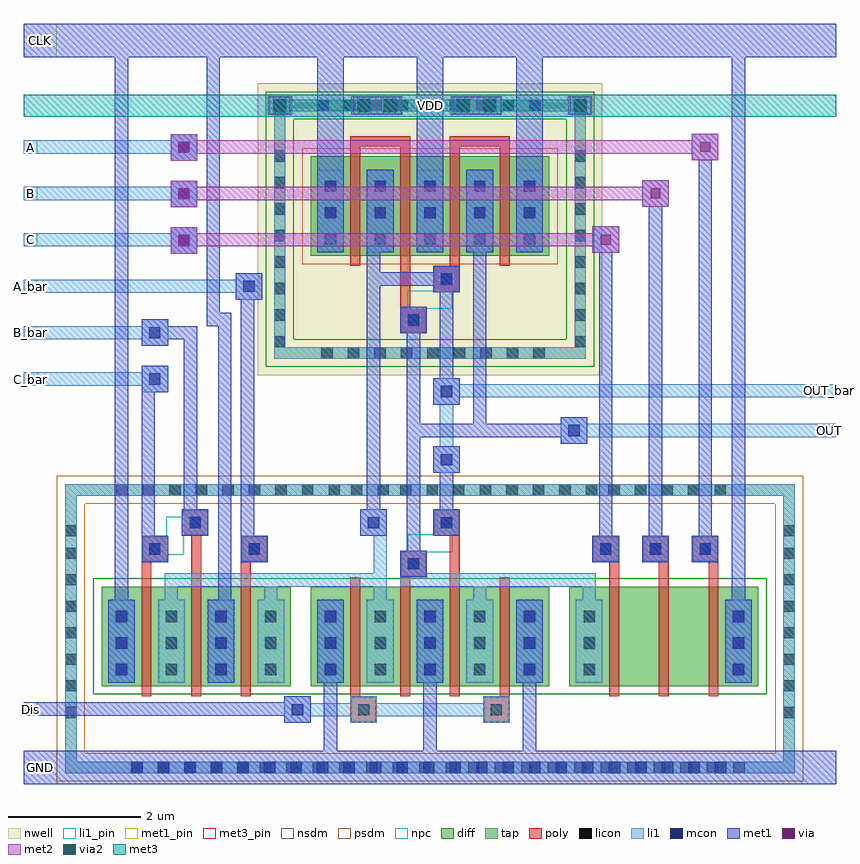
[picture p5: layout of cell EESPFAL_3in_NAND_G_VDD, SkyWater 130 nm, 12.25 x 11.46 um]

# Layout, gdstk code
import gdstk
lib = gdstk.Library(unit=1e-6, precision=1e-09)
def R(c, l, rs):  # rectangles x0, y0, x1, y1
    for r in rs: c.add(gdstk.rectangle(r[:2], r[2:], *l))
def A(c, l, x, y, w, h, nx, ny, dx, dy):  # array of equal rectangles
    R(c, l, [(x+i*dx, y+j*dy, x+i*dx+w, y+j*dy+h) for i in range(nx) for j in range(ny)])
nwell = (64, 20)
diff = (65, 20)
tap = (65, 44)
poly = (66, 20)
licon = (66, 44)
li1_pin = (67, 16)
li1 = (67, 20)
mcon = (67, 44)
met1_pin = (68, 16)
met1 = (68, 20)
via = (68, 44)
met2 = (69, 20)
via2 = (69, 44)
met3_pin = (70, 16)
met3 = (70, 20)
nsdm = (93, 44)
psdm = (94, 20)
npc = (95, 20)

eespfal_3in_nand_g_vdd = lib.new_cell('EESPFAL_3in_NAND_G_VDD')
R(eespfal_3in_nand_g_vdd, nwell, [(-26.775,7.46,-21.58,11.86)])
R(eespfal_3in_nand_g_vdd, diff, [(-29.13,2.77,-26.28,4.27), (-25.98,2.77,-22.38,4.27), (-22.08,2.77,-19.23,4.27), (-25.98,9.26,-22.38,10.76)])
R(eespfal_3in_nand_g_vdd, tap, [(-29.68,1.46,-18.68,1.63), (-29.68,1.63,-29.51,5.645), (-18.85,1.63,-18.68,5.645), (-29.68,5.645,-18.68,5.815), (-26.53,7.71,-21.83,7.88), (-26.53,7.88,-26.36,11.44), (-22,7.88,-21.83,11.44), (-26.53,11.44,-21.83,11.61)])
A(eespfal_3in_nand_g_vdd, poly, -21.48, 2.62, 0.15, 2.02, 3, 1, 0.75, 0)
A(eespfal_3in_nand_g_vdd, poly, -21.73, 4.64, 0.4, 0.4, 3, 1, 0.75, 0)
R(eespfal_3in_nand_g_vdd, poly, [(-25.38,2.215,-24.98,2.615), (-23.38,2.215,-22.98,2.615), (-25.38,2.615,-25.23,4.415), (-24.63,2.615,-24.48,4.415), (-23.88,2.615,-23.73,5.035), (-23.13,2.615,-22.98,4.415), (-28.53,2.62,-28.38,4.64), (-27.78,2.62,-27.63,5.04), (-27.03,2.62,-26.88,4.64), (-24.63,4.415,-24.23,4.815), (-28.53,4.64,-28.13,5.04), (-27.03,4.64,-26.63,5.04), (-24.13,5.035,-23.73,5.435), (-27.92,5.04,-27.52,5.44), (-24.63,8.09,-24.23,8.49), (-24.63,8.49,-24.48,10.91), (-24.13,8.71,-23.73,9.11), (-25.38,9.11,-25.23,10.91), (-23.88,9.11,-23.73,10.91), (-23.13,9.11,-22.98,10.91), (-25.38,10.91,-24.48,11.06), (-23.88,10.91,-22.98,11.06)])
A(eespfal_3in_nand_g_vdd, licon, -28.685, 1.46, 0.17, 0.17, 5, 1, 0.4, 0)
A(eespfal_3in_nand_g_vdd, licon, -26.745, 1.46, 0.17, 0.17, 8, 1, 0.4, 0)
A(eespfal_3in_nand_g_vdd, licon, -23.605, 1.46, 0.17, 0.17, 11, 1, 0.4, 0)
A(eespfal_3in_nand_g_vdd, licon, -29.68, 2.29, 0.17, 0.17, 1, 7, 0, 0.4)
A(eespfal_3in_nand_g_vdd, licon, -18.85, 2.29, 0.17, 0.17, 1, 7, 0, 0.4)
A(eespfal_3in_nand_g_vdd, licon, -28.915, 2.935, 0.17, 0.17, 4, 3, 0.75, 0.4)
A(eespfal_3in_nand_g_vdd, licon, -25.765, 2.935, 0.17, 0.17, 5, 3, 0.75, 0.4)
A(eespfal_3in_nand_g_vdd, licon, -21.865, 2.935, 0.17, 0.17, 1, 3, 0, 0.4)
A(eespfal_3in_nand_g_vdd, licon, -19.615, 2.935, 0.17, 0.17, 1, 3, 0, 0.4)
A(eespfal_3in_nand_g_vdd, licon, -21.615, 4.755, 0.17, 0.17, 3, 1, 0.75, 0)
A(eespfal_3in_nand_g_vdd, licon, -28.91, 5.645, 0.17, 0.17, 9, 1, 0.4, 0)
A(eespfal_3in_nand_g_vdd, licon, -24.63, 5.645, 0.17, 0.17, 8, 1, 0.4, 0)
A(eespfal_3in_nand_g_vdd, licon, -21.49, 5.645, 0.17, 0.17, 5, 1, 0.4, 0)
A(eespfal_3in_nand_g_vdd, licon, -25.82, 7.71, 0.17, 0.17, 9, 1, 0.4, 0)
A(eespfal_3in_nand_g_vdd, licon, -26.53, 7.88, 0.17, 0.17, 1, 8, 0, 0.4)
A(eespfal_3in_nand_g_vdd, licon, -22, 7.88, 0.17, 0.17, 1, 8, 0, 0.4)
A(eespfal_3in_nand_g_vdd, licon, -25.765, 9.425, 0.17, 0.17, 5, 3, 0.75, 0.4)
A(eespfal_3in_nand_g_vdd, licon, -25.88, 11.44, 0.17, 0.17, 9, 1, 0.4, 0)
R(eespfal_3in_nand_g_vdd, licon, [(-25.265,2.33,-25.095,2.5), (-23.265,2.33,-23.095,2.5), (-24.515,4.53,-24.345,4.7), (-28.415,4.755,-28.245,4.925), (-26.915,4.755,-26.745,4.925), (-29.68,5.03,-29.51,5.2), (-18.85,5.03,-18.68,5.2), (-24.015,5.15,-23.845,5.32), (-27.805,5.155,-27.635,5.325), (-25.37,5.645,-25.2,5.815), (-24.97,5.645,-24.8,5.815), (-24.515,8.205,-24.345,8.375), (-24.015,8.825,-23.845,8.995)])
A(eespfal_3in_nand_g_vdd, li1_pin, -30.305, 7.3, 0.2, 0.2, 1, 6, 0, 0.7)
R(eespfal_3in_nand_g_vdd, li1_pin, [(-18.255,6.525,-18.055,6.725), (-18.255,7.125,-18.055,7.325)])
A(eespfal_3in_nand_g_vdd, li1, -29.03, 2.82, 0.4, 1.25, 4, 1, 0.75, 0)
A(eespfal_3in_nand_g_vdd, li1, -25.88, 2.82, 0.4, 1.25, 5, 2, 0.75, 6.49)
A(eespfal_3in_nand_g_vdd, li1, -21.73, 4.64, 0.4, 0.4, 3, 1, 0.75, 0)
A(eespfal_3in_nand_g_vdd, li1, -30.305, 9.4, 2.615, 0.2, 1, 3, 0, 0.7)
R(eespfal_3in_nand_g_vdd, li1, [(-29.68,1.46,-18.68,1.63), (-29.68,1.63,-29.51,5.645), (-18.85,1.63,-18.68,5.645), (-26.38,2.215,-25.98,2.315), (-25.38,2.215,-24.98,2.315), (-23.38,2.215,-22.98,2.315), (-26.38,2.315,-22.98,2.515), (-26.38,2.515,-25.98,2.615), (-25.38,2.515,-24.98,2.615), (-23.38,2.515,-22.98,2.615), (-21.98,2.82,-21.58,4.07), (-19.73,2.82,-19.33,4.07), (-28.18,4.07,-27.98,4.27), (-26.68,4.07,-26.48,4.27), (-25.03,4.07,-24.83,4.27), (-23.53,4.07,-23.33,4.27), (-21.88,4.07,-21.68,4.27), (-28.18,4.27,-24.83,4.47), (-24.63,4.27,-21.68,4.47), (-25.03,4.47,-24.83,5.035), (-24.63,4.47,-24.23,4.815), (-28.53,4.64,-28.13,5.04), (-27.03,4.64,-26.63,5.04), (-25.23,5.035,-24.83,5.435), (-24.13,5.035,-23.73,5.435), (-27.92,5.04,-27.52,5.44), (-29.68,5.645,-18.68,5.815), (-24.13,5.985,-23.73,6.385), (-24.03,6.385,-23.83,7.015), (-22.21,6.425,-21.81,6.525), (-22.21,6.525,-18.055,6.725), (-22.21,6.725,-21.81,6.825), (-24.13,7.015,-23.73,7.125), (-24.13,7.125,-18.055,7.325), (-28.53,7.2,-28.13,7.3), (-30.305,7.3,-28.13,7.5), (-24.13,7.325,-23.73,7.415), (-28.53,7.5,-28.13,7.6), (-26.53,7.71,-21.83,7.88), (-26.53,7.88,-26.36,11.44), (-22,7.88,-21.83,11.44), (-28.53,7.9,-28.13,8), (-30.305,8,-28.13,8.2), (-24.63,8.09,-24.23,8.49), (-28.53,8.2,-28.13,8.3), (-27.11,8.6,-26.71,8.7), (-30.305,8.7,-26.71,8.9), (-24.13,8.71,-23.73,9.11), (-27.11,8.9,-26.71,9), (-28.09,9.29,-27.69,9.4), (-28.09,9.6,-27.69,9.69), (-28.09,9.995,-27.69,10.1), (-28.09,10.3,-27.69,10.395), (-28.09,10.695,-27.69,10.8), (-28.09,11,-27.69,11.095), (-26.53,11.44,-21.83,11.61)])
A(eespfal_3in_nand_g_vdd, mcon, -28.685, 1.46, 0.17, 0.17, 23, 1, 0.4, 0)
A(eespfal_3in_nand_g_vdd, mcon, -28.915, 2.935, 0.17, 0.17, 1, 3, 0, 0.4)
A(eespfal_3in_nand_g_vdd, mcon, -27.415, 2.935, 0.17, 0.17, 1, 3, 0, 0.4)
A(eespfal_3in_nand_g_vdd, mcon, -25.765, 2.935, 0.17, 0.17, 3, 3, 1.5, 0.4)
A(eespfal_3in_nand_g_vdd, mcon, -19.615, 2.935, 0.17, 0.17, 1, 3, 0, 0.4)
A(eespfal_3in_nand_g_vdd, mcon, -21.615, 4.755, 0.17, 0.17, 3, 1, 0.75, 0)
A(eespfal_3in_nand_g_vdd, mcon, -25.765, 9.425, 0.17, 0.17, 5, 3, 0.75, 0.4)
R(eespfal_3in_nand_g_vdd, mcon, [(-26.265,2.33,-26.095,2.5), (-24.515,4.53,-24.345,4.7), (-28.415,4.755,-28.245,4.925), (-26.915,4.755,-26.745,4.925), (-25.115,5.15,-24.945,5.32), (-24.015,5.15,-23.845,5.32), (-27.805,5.155,-27.635,5.325), (-24.015,6.1,-23.845,6.27), (-22.095,6.54,-21.925,6.71), (-24.015,7.13,-23.845,7.3), (-28.415,7.315,-28.245,7.485), (-28.415,8.015,-28.245,8.185), (-24.515,8.205,-24.345,8.375), (-26.995,8.715,-26.825,8.885), (-24.015,8.825,-23.845,8.995), (-27.975,9.405,-27.805,9.575), (-27.975,10.11,-27.805,10.28), (-27.975,10.81,-27.805,10.98), (-26.53,11.44,-26.36,11.61), (-25.265,11.44,-25.095,11.61), (-24.865,11.44,-24.695,11.61), (-23.765,11.44,-23.595,11.61), (-23.365,11.44,-23.195,11.61), (-22,11.44,-21.83,11.61)])
R(eespfal_3in_nand_g_vdd, met1_pin, [(-30.305,1.295,-29.805,1.795), (-30.305,2.325,-30.105,2.525), (-30.305,12.255,-29.805,12.755)])
A(eespfal_3in_nand_g_vdd, met1, -25.78, 1.795, 0.2, 1.025, 3, 1, 1.5, 0)
A(eespfal_3in_nand_g_vdd, met1, -25.88, 2.82, 0.4, 1.25, 3, 1, 1.5, 0)
A(eespfal_3in_nand_g_vdd, met1, -21.73, 4.64, 0.4, 0.4, 3, 1, 0.75, 0)
A(eespfal_3in_nand_g_vdd, met1, -25.88, 9.31, 0.4, 2.945, 3, 1, 1.5, 0)
R(eespfal_3in_nand_g_vdd, met1, [(-30.305,1.295,-18.055,1.795), (-26.38,2.215,-25.98,2.325), (-30.305,2.325,-25.98,2.525), (-26.38,2.525,-25.98,2.615), (-29.03,2.82,-28.63,4.07), (-27.53,2.82,-27.13,4.07), (-19.73,2.82,-19.33,4.07), (-28.93,4.07,-28.73,12.255), (-27.375,4.07,-27.175,8.2), (-19.63,4.07,-19.43,12.255), (-24.63,4.415,-24.23,4.815), (-28.53,4.64,-28.13,5.04), (-27.03,4.64,-26.63,5.04), (-24.53,4.815,-24.33,6.525), (-25.23,5.035,-24.83,5.435), (-24.13,5.035,-23.73,5.435), (-28.53,5.04,-28.33,7.2), (-27.92,5.04,-27.52,5.44), (-27.03,5.04,-26.83,8.6), (-21.63,5.04,-21.43,9.305), (-20.88,5.04,-20.68,10), (-20.13,5.04,-19.93,10.7), (-25.13,5.435,-24.93,8.81), (-24.03,5.435,-23.83,5.985), (-27.89,5.44,-27.69,8), (-24.13,5.985,-23.73,6.385), (-22.21,6.425,-21.81,6.525), (-24.53,6.525,-21.81,6.725), (-24.53,6.725,-24.33,8.09), (-23.53,6.725,-23.33,9.31), (-22.21,6.725,-21.81,6.825), (-24.13,7.015,-23.73,7.415), (-28.53,7.2,-28.13,7.6), (-24.03,7.415,-23.83,8.71), (-28.53,7.9,-28.13,8), (-28.53,8,-27.69,8.2), (-24.63,8.09,-24.23,8.49), (-28.53,8.2,-28.13,8.3), (-27.55,8.2,-27.175,8.4), (-27.55,8.4,-27.35,12.255), (-27.11,8.6,-26.71,9), (-24.13,8.71,-23.73,8.81), (-25.13,8.81,-23.73,9.01), (-25.13,9.01,-24.93,9.31), (-24.13,9.01,-23.73,9.11), (-28.09,9.29,-27.69,9.69), (-21.73,9.305,-21.33,9.705), (-25.13,9.31,-24.73,10.56), (-23.63,9.31,-23.23,10.56), (-28.09,9.995,-27.69,10.395), (-20.98,10,-20.58,10.4), (-28.09,10.695,-27.69,11.095), (-20.23,10.7,-19.83,11.1), (-26.605,11.395,-26.285,11.655), (-25.34,11.395,-24.605,11.655), (-23.84,11.395,-23.105,11.655), (-22.075,11.395,-21.755,11.655), (-30.305,12.255,-18.055,12.755)])
R(eespfal_3in_nand_g_vdd, via, [(-27.965,9.415,-27.815,9.565), (-21.605,9.43,-21.455,9.58), (-27.965,10.12,-27.815,10.27), (-20.855,10.125,-20.705,10.275), (-27.965,10.82,-27.815,10.97), (-20.105,10.825,-19.955,10.975), (-26.52,11.45,-26.37,11.6), (-25.255,11.45,-25.105,11.6), (-24.855,11.45,-24.705,11.6), (-23.755,11.45,-23.605,11.6), (-23.355,11.45,-23.205,11.6), (-21.99,11.45,-21.84,11.6)])
R(eespfal_3in_nand_g_vdd, met2, [(-28.09,9.29,-27.69,9.4), (-21.73,9.305,-21.33,9.4), (-28.09,9.4,-21.33,9.6), (-28.09,9.6,-27.69,9.69), (-21.73,9.6,-21.33,9.705), (-28.09,9.995,-27.69,10.1), (-20.98,10,-20.58,10.1), (-28.09,10.1,-20.58,10.3), (-28.09,10.3,-27.69,10.395), (-20.98,10.3,-20.58,10.4), (-28.09,10.695,-27.69,10.8), (-20.23,10.7,-19.83,10.8), (-28.09,10.8,-19.83,11), (-28.09,11,-27.69,11.095), (-20.23,11,-19.83,11.1), (-26.63,11.385,-26.26,11.665), (-25.365,11.385,-24.595,11.665), (-23.865,11.385,-23.095,11.665), (-22.1,11.385,-21.73,11.665)])
R(eespfal_3in_nand_g_vdd, via2, [(-26.545,11.425,-26.345,11.625), (-25.28,11.425,-25.08,11.625), (-24.88,11.425,-24.68,11.625), (-23.78,11.425,-23.58,11.625), (-23.38,11.425,-23.18,11.625), (-22.015,11.425,-21.815,11.625)])
R(eespfal_3in_nand_g_vdd, met3_pin, [(-30.305,11.36,-18.055,11.69)])
R(eespfal_3in_nand_g_vdd, met3, [(-30.305,11.36,-18.055,11.69)])
R(eespfal_3in_nand_g_vdd, nsdm, [(-29.255,2.645,-19.105,4.395), (-26.655,7.585,-21.705,8.005), (-26.655,8.005,-26.235,11.315), (-22.125,8.005,-21.705,11.315), (-26.655,11.315,-21.705,11.735)])
R(eespfal_3in_nand_g_vdd, psdm, [(-29.805,1.335,-18.555,1.755), (-29.805,1.755,-29.385,5.52), (-18.975,1.755,-18.555,5.52), (-29.805,5.52,-18.555,5.94), (-26.105,9.135,-22.255,10.885)])
A(eespfal_3in_nand_g_vdd, npc, -21.715, 4.655, 0.37, 0.37, 3, 1, 0.75, 0)
R(eespfal_3in_nand_g_vdd, npc, [(-25.365,2.23,-24.995,2.6), (-23.365,2.23,-22.995,2.6), (-24.615,4.43,-24.245,4.79), (-28.515,4.655,-28.145,4.755), (-27.015,4.655,-26.645,5.025), (-28.515,4.755,-27.89,5.025), (-24.615,4.79,-23.845,4.8), (-24.515,4.8,-23.845,5.05), (-28.16,5.025,-27.89,5.055), (-24.515,5.05,-23.745,5.06), (-28.16,5.055,-27.535,5.325), (-24.115,5.06,-23.745,5.42), (-27.905,5.325,-27.535,5.425), (-24.615,8.105,-24.245,8.465), (-24.615,8.465,-23.845,8.475), (-24.515,8.475,-23.845,8.725), (-24.515,8.725,-23.745,8.735), (-24.115,8.735,-23.745,9.095)])
eespfal_3in_nand_g_vdd.add(gdstk.Label('C_bar', (-30.205,7.4), layer=67, texttype=5))
eespfal_3in_nand_g_vdd.add(gdstk.Label('C', (-30.205,9.5), layer=67, texttype=5))
eespfal_3in_nand_g_vdd.add(gdstk.Label('B_bar', (-30.205,8.1), layer=67, texttype=5))
eespfal_3in_nand_g_vdd.add(gdstk.Label('A_bar', (-30.205,8.8), layer=67, texttype=5))
eespfal_3in_nand_g_vdd.add(gdstk.Label('B', (-30.205,10.2), layer=67, texttype=5))
eespfal_3in_nand_g_vdd.add(gdstk.Label('A', (-30.205,10.9), layer=67, texttype=5))
eespfal_3in_nand_g_vdd.add(gdstk.Label('OUT_bar', (-18.155,7.225), layer=67, texttype=5))
eespfal_3in_nand_g_vdd.add(gdstk.Label('OUT', (-18.155,6.625), layer=67, texttype=5))
eespfal_3in_nand_g_vdd.add(gdstk.Label('VDD', (-24.18,11.525), layer=70, texttype=5))
eespfal_3in_nand_g_vdd.add(gdstk.Label('Dis', (-30.205,2.425), layer=68, texttype=5))
eespfal_3in_nand_g_vdd.add(gdstk.Label('GND', (-30.055,1.545), layer=68, texttype=5))
eespfal_3in_nand_g_vdd.add(gdstk.Label('CLK', (-30.055,12.505), layer=68, texttype=5))

lib.write_gds('EESPFAL_3in_NAND_G_VDD.gds')
